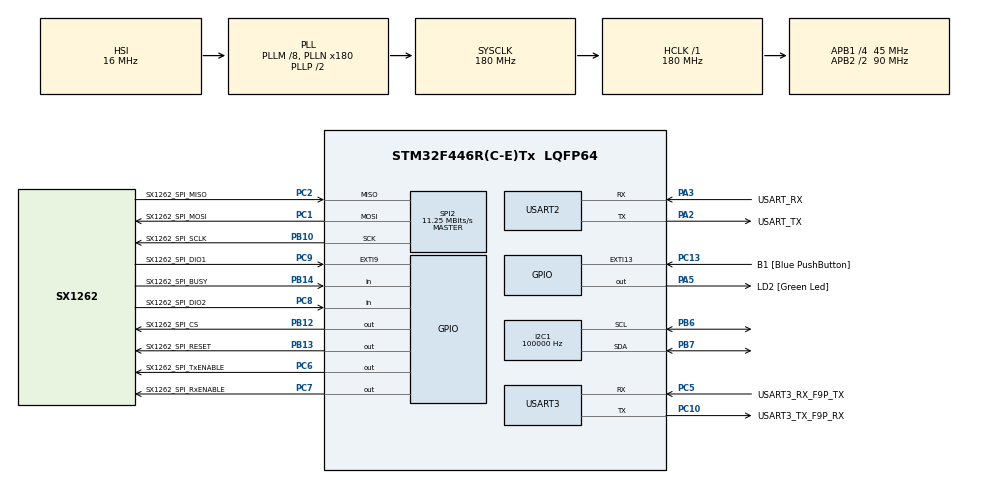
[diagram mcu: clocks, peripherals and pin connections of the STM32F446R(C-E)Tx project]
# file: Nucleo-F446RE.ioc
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FREERTOS.Tasks01=defaultTask,24,128,StartDefaultTask,Default,NULL,Dynamic,NULL,NULL
FREERTOS.configUSE_NEWLIB_REENTRANT=1
I2C1.ClockSpeed=100000
I2C1.I2C_Mode=I2C_Fast
I2C1.NoStretchMode=I2C_NOSTRETCH_DISABLE
Mcu.Family=STM32F4
Mcu.Name=STM32F446R(C-E)Tx
Mcu.Package=LQFP64
NVIC.EXTI9_5_IRQn=true\:5\:0\:false\:false\:true\:true\:true\:true\:true
NVIC.PriorityGroup=NVIC_PRIORITYGROUP_4
NVIC.TIM6_DAC_IRQn=true\:15\:0\:false\:false\:true\:false\:false\:true\:true
NVIC.TimeBase=TIM6_DAC_IRQn
NVIC.TimeBaseIP=TIM6
NVIC.USART3_IRQn=true\:5\:0\:false\:false\:true\:true\:true\:true\:true
PA13.GPIO_Label=TMS
PA13.Mode=Serial_Wire
PA13.Signal=SYS_JTMS-SWDIO
PA14.GPIO_Label=TCK
PA14.Mode=Serial_Wire
PA14.Signal=SYS_JTCK-SWCLK
PA2.GPIO_Label=USART_TX
PA2.Mode=Asynchronous
PA2.Signal=USART2_TX
PA3.GPIO_Label=USART_RX
PA3.Mode=Asynchronous
PA3.Signal=USART2_RX
PA5.GPIO_Label=LD2 [Green Led]
PA5.Signal=GPIO_Output
PB10.GPIO_Label=SX1262_SPI_SCLK
PB10.Mode=Full_Duplex_Master
PB10.Signal=SPI2_SCK
PB12.GPIO_Label=SX1262_SPI_CS
PB12.GPIO_Speed=GPIO_SPEED_FREQ_VERY_HIGH
PB12.PinState=GPIO_PIN_SET
PB12.Signal=GPIO_Output
PB13.GPIO_Label=SX1262_SPI_RESET
PB13.Signal=GPIO_Output
PB14.GPIO_Label=SX1262_SPI_BUSY
PB14.Signal=GPIO_Input
PB3.GPIO_Label=SWO
PB3.Signal=SYS_JTDO-SWO
PB6.GPIO_Pu=GPIO_PULLUP
PB6.Mode=I2C
PB6.Signal=I2C1_SCL
PB7.GPIO_Pu=GPIO_PULLUP
PB7.Mode=I2C
PB7.Signal=I2C1_SDA
PC1.GPIO_Label=SX1262_SPI_MOSI
PC1.Mode=Full_Duplex_Master
PC1.Signal=SPI2_MOSI
PC10.GPIO_Label=USART3_TX_F9P_RX
PC10.Mode=Asynchronous
PC10.Signal=USART3_TX
PC13.GPIO_Label=B1 [Blue PushButton]
PC13.GPIO_ModeDefaultEXTI=GPIO_MODE_IT_FALLING
PC13.Signal=GPXTI13
PC14-OSC32_IN.Mode=LSE-External-Oscillator
PC14-OSC32_IN.Signal=RCC_OSC32_IN
PC15-OSC32_OUT.Mode=LSE-External-Oscillator
PC15-OSC32_OUT.Signal=RCC_OSC32_OUT
PC2.GPIO_Label=SX1262_SPI_MISO
PC2.Mode=Full_Duplex_Master
PC2.Signal=SPI2_MISO
PC5.GPIO_Label=USART3_RX_F9P_TX
PC5.Mode=Asynchronous
PC5.Signal=USART3_RX
PC6.GPIO_Label=SX1262_SPI_TxENABLE
PC6.GPIO_Speed=GPIO_SPEED_FREQ_MEDIUM
PC6.Signal=GPIO_Output
PC7.GPIO_Label=SX1262_SPI_RxENABLE
PC7.Signal=GPIO_Output
PC8.GPIO_Label=SX1262_SPI_DIO2
PC8.Signal=GPIO_Input
PC9.GPIO_Label=SX1262_SPI_DIO1
PC9.GPIO_ModeDefaultEXTI=GPIO_MODE_IT_RISING
PC9.Signal=GPXTI9
PH0-OSC_IN.Mode=HSE-External-Oscillator
PH0-OSC_IN.Signal=RCC_OSC_IN
PH1-OSC_OUT.Mode=HSE-External-Oscillator
PH1-OSC_OUT.Signal=RCC_OSC_OUT
ProjectManager.HeapSize=0x200
ProjectManager.StackSize=0x400
ProjectManager.TargetToolchain=STM32CubeIDE
RCC.48MHZClocksFreq_Value=84000000
RCC.AHBFreq_Value=180000000
RCC.APB1CLKDivider=RCC_HCLK_DIV4
RCC.APB1Freq_Value=45000000
RCC.APB1TimFreq_Value=90000000
RCC.APB2CLKDivider=RCC_HCLK_DIV2
RCC.APB2Freq_Value=90000000
RCC.APB2TimFreq_Value=180000000
RCC.CortexFreq_Value=180000000
RCC.FLatency-AdvancedSettings=FLASH_LATENCY_5
RCC.HCLKFreq_Value=180000000
RCC.HSE_VALUE=24000000
RCC.HSI_VALUE=16000000
RCC.PLLM=8
RCC.PLLN=180
RCC.SYSCLKFreq_VALUE=180000000
RCC.SYSCLKSource=RCC_SYSCLKSOURCE_PLLCLK
RCC.USBFreq_Value=180000000
RCC.VCOOutputFreq_Value=360000000
SPI2.BaudRatePrescaler=SPI_BAUDRATEPRESCALER_4
SPI2.CalculateBaudRate=11.25 MBits/s
SPI2.Direction=SPI_DIRECTION_2LINES
SPI2.Mode=SPI_MODE_MASTER
SPI2.VirtualType=VM_MASTER
USART2.VirtualMode=VM_ASYNC
USART3.VirtualMode=VM_ASYNC
VP_FREERTOS_VS_CMSIS_V2.Mode=CMSIS_V2
VP_SYS_VS_tim6.Mode=TIM6
board=NUCLEO-F446RE

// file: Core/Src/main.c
/* USER CODE BEGIN Header */
/**
  ******************************************************************************
  * @file           : main.c
  * @brief          : Main program body
  ******************************************************************************
  * @attention
  *
  * Copyright (c) 2026 STMicroelectronics.
  * All rights reserved.
  *
  * This software is licensed under terms that can be found in the LICENSE file
  * in the root directory of this software component.
  * If no LICENSE file comes with this software, it is provided AS-IS.
  *
  ******************************************************************************
  */
/* USER CODE END Header */
#include "main.h"
#include "cmsis_os.h"

/* USER CODE BEGIN Includes */

#include "FreeRTOS.h"
#include "semphr.h"
#include "task_logger.h"
#include "task_display.h"
#include "task_ota_rx.h"

/* USER CODE END Includes */

I2C_HandleTypeDef hi2c1;

SPI_HandleTypeDef hspi2;

UART_HandleTypeDef huart2;
UART_HandleTypeDef huart3;

/* Definitions for defaultTask */
osThreadId_t defaultTaskHandle;
const osThreadAttr_t defaultTask_attributes = {
  .name = "defaultTask",
  .stack_size = 256 * 4,
  .priority = (osPriority_t) osPriorityNormal,
};
/* USER CODE BEGIN PV */
SemaphoreHandle_t hi2c1_mutex;
/* USER CODE END PV */

void SystemClock_Config(void);
static void MX_GPIO_Init(void);
static void MX_I2C1_Init(void);
static void MX_USART2_UART_Init(void);
static void MX_SPI2_Init(void);
static void MX_USART3_UART_Init(void);
void StartDefaultTask(void *argument);

int main(void)
{

  /* USER CODE BEGIN 1 */
  CoreDebug->DEMCR |= CoreDebug_DEMCR_TRCENA_Msk;
  DWT->CYCCNT = 0;
  DWT->CTRL  |= DWT_CTRL_CYCCNTENA_Msk;
  /* USER CODE END 1 */

  /* MCU Configuration--------------------------------------------------------*/

  /* Reset of all peripherals, Initializes the Flash interface and the Systick. */
  HAL_Init();

  /* Configure the system clock */
  SystemClock_Config();

  /* Initialize all configured peripherals */
  MX_GPIO_Init();
  MX_I2C1_Init();
  MX_USART2_UART_Init();
  MX_SPI2_Init();
  MX_USART3_UART_Init();

  /* Init scheduler */
  osKernelInitialize();

  /* USER CODE BEGIN RTOS_MUTEX */
  hi2c1_mutex = xSemaphoreCreateMutex();
  configASSERT(hi2c1_mutex);
  /* USER CODE END RTOS_MUTEX */

  /* Create the thread(s) */
  /* creation of defaultTask */
  defaultTaskHandle = osThreadNew(StartDefaultTask, NULL, &defaultTask_attributes);

  /* Start scheduler */
  osKernelStart();

  /* We should never get here as control is now taken by the scheduler */

  /* Infinite loop */
  while (1)
  {

  }
}

void SystemClock_Config(void)
{
  RCC_OscInitTypeDef RCC_OscInitStruct = {0};
  RCC_ClkInitTypeDef RCC_ClkInitStruct = {0};

  /** Configure the main internal regulator output voltage
  */
  __HAL_RCC_PWR_CLK_ENABLE();
  __HAL_PWR_VOLTAGESCALING_CONFIG(PWR_REGULATOR_VOLTAGE_SCALE1);

  /** Initializes the RCC Oscillators according to the specified parameters
  * in the RCC_OscInitTypeDef structure.
  */
  RCC_OscInitStruct.OscillatorType = RCC_OSCILLATORTYPE_HSI;
  RCC_OscInitStruct.HSIState = RCC_HSI_ON;
  RCC_OscInitStruct.HSICalibrationValue = RCC_HSICALIBRATION_DEFAULT;
  RCC_OscInitStruct.PLL.PLLState = RCC_PLL_ON;
  RCC_OscInitStruct.PLL.PLLSource = RCC_PLLSOURCE_HSI;
  RCC_OscInitStruct.PLL.PLLM = 8;
  RCC_OscInitStruct.PLL.PLLN = 180;
  RCC_OscInitStruct.PLL.PLLP = RCC_PLLP_DIV2;
  RCC_OscInitStruct.PLL.PLLQ = 2;
  RCC_OscInitStruct.PLL.PLLR = 2;
  if (HAL_RCC_OscConfig(&RCC_OscInitStruct) != HAL_OK)
  {
    Error_Handler();
  }

  /** Activate the Over-Drive mode
  */
  if (HAL_PWREx_EnableOverDrive() != HAL_OK)
  {
    Error_Handler();
  }

  /** Initializes the CPU, AHB and APB buses clocks
  */
  RCC_ClkInitStruct.ClockType = RCC_CLOCKTYPE_HCLK|RCC_CLOCKTYPE_SYSCLK
                              |RCC_CLOCKTYPE_PCLK1|RCC_CLOCKTYPE_PCLK2;
  RCC_ClkInitStruct.SYSCLKSource = RCC_SYSCLKSOURCE_PLLCLK;
  RCC_ClkInitStruct.AHBCLKDivider = RCC_SYSCLK_DIV1;
  RCC_ClkInitStruct.APB1CLKDivider = RCC_HCLK_DIV4;
  RCC_ClkInitStruct.APB2CLKDivider = RCC_HCLK_DIV2;

  if (HAL_RCC_ClockConfig(&RCC_ClkInitStruct, FLASH_LATENCY_5) != HAL_OK)
  {
    Error_Handler();
  }
}

static void MX_I2C1_Init(void)
{

  hi2c1.Instance = I2C1;
  hi2c1.Init.ClockSpeed = 100000;
  hi2c1.Init.DutyCycle = I2C_DUTYCYCLE_2;
  hi2c1.Init.OwnAddress1 = 0;
  hi2c1.Init.AddressingMode = I2C_ADDRESSINGMODE_7BIT;
  hi2c1.Init.DualAddressMode = I2C_DUALADDRESS_DISABLE;
  hi2c1.Init.OwnAddress2 = 0;
  hi2c1.Init.GeneralCallMode = I2C_GENERALCALL_DISABLE;
  hi2c1.Init.NoStretchMode = I2C_NOSTRETCH_DISABLE;
  if (HAL_I2C_Init(&hi2c1) != HAL_OK)
  {
    Error_Handler();
  }

}

static void MX_SPI2_Init(void)
{

  /* SPI2 parameter configuration*/
  hspi2.Instance = SPI2;
  hspi2.Init.Mode = SPI_MODE_MASTER;
  hspi2.Init.Direction = SPI_DIRECTION_2LINES;
  hspi2.Init.DataSize = SPI_DATASIZE_8BIT;
  hspi2.Init.CLKPolarity = SPI_POLARITY_LOW;
  hspi2.Init.CLKPhase = SPI_PHASE_1EDGE;
  hspi2.Init.NSS = SPI_NSS_SOFT;
  hspi2.Init.BaudRatePrescaler = SPI_BAUDRATEPRESCALER_4;
  hspi2.Init.FirstBit = SPI_FIRSTBIT_MSB;
  hspi2.Init.TIMode = SPI_TIMODE_DISABLE;
  hspi2.Init.CRCCalculation = SPI_CRCCALCULATION_DISABLE;
  hspi2.Init.CRCPolynomial = 10;
  if (HAL_SPI_Init(&hspi2) != HAL_OK)
  {
    Error_Handler();
  }

}

static void MX_USART2_UART_Init(void)
{

  huart2.Instance = USART2;
  huart2.Init.BaudRate = 115200;
  huart2.Init.WordLength = UART_WORDLENGTH_8B;
  huart2.Init.StopBits = UART_STOPBITS_1;
  huart2.Init.Parity = UART_PARITY_NONE;
  huart2.Init.Mode = UART_MODE_TX_RX;
  huart2.Init.HwFlowCtl = UART_HWCONTROL_NONE;
  huart2.Init.OverSampling = UART_OVERSAMPLING_16;
  if (HAL_UART_Init(&huart2) != HAL_OK)
  {
    Error_Handler();
  }

}

static void MX_USART3_UART_Init(void)
{

  huart3.Instance = USART3;
  huart3.Init.BaudRate = 115200;
  huart3.Init.WordLength = UART_WORDLENGTH_8B;
  huart3.Init.StopBits = UART_STOPBITS_1;
  huart3.Init.Parity = UART_PARITY_NONE;
  huart3.Init.Mode = UART_MODE_TX_RX;
  huart3.Init.HwFlowCtl = UART_HWCONTROL_NONE;
  huart3.Init.OverSampling = UART_OVERSAMPLING_16;
  if (HAL_UART_Init(&huart3) != HAL_OK)
  {
    Error_Handler();
  }

}

static void MX_GPIO_Init(void)
{
  GPIO_InitTypeDef GPIO_InitStruct = {0};

  /* GPIO Ports Clock Enable */
  __HAL_RCC_GPIOC_CLK_ENABLE();
  __HAL_RCC_GPIOH_CLK_ENABLE();
  __HAL_RCC_GPIOA_CLK_ENABLE();
  __HAL_RCC_GPIOB_CLK_ENABLE();

  /*Configure GPIO pin Output Level */
  HAL_GPIO_WritePin(LD2_GPIO_Port, LD2_Pin, GPIO_PIN_RESET);

  /*Configure GPIO pin Output Level */
  HAL_GPIO_WritePin(SX1262_SPI_CS_GPIO_Port, SX1262_SPI_CS_Pin, GPIO_PIN_SET);

  /*Configure GPIO pin Output Level */
  HAL_GPIO_WritePin(SX1262_SPI_RESET_GPIO_Port, SX1262_SPI_RESET_Pin, GPIO_PIN_RESET);

  /*Configure GPIO pin Output Level */
  HAL_GPIO_WritePin(GPIOC, SX1262_SPI_TxENABLE_Pin|SX1262_SPI_RxENABLE_Pin, GPIO_PIN_RESET);

  /*Configure GPIO pin : B1_Pin */
  GPIO_InitStruct.Pin = B1_Pin;
  GPIO_InitStruct.Mode = GPIO_MODE_IT_FALLING;
  GPIO_InitStruct.Pull = GPIO_NOPULL;
  HAL_GPIO_Init(B1_GPIO_Port, &GPIO_InitStruct);

  /*Configure GPIO pin : LD2_Pin */
  GPIO_InitStruct.Pin = LD2_Pin;
  GPIO_InitStruct.Mode = GPIO_MODE_OUTPUT_PP;
  GPIO_InitStruct.Pull = GPIO_NOPULL;
  GPIO_InitStruct.Speed = GPIO_SPEED_FREQ_LOW;
  HAL_GPIO_Init(LD2_GPIO_Port, &GPIO_InitStruct);

  /*Configure GPIO pin : SX1262_SPI_CS_Pin */
  GPIO_InitStruct.Pin = SX1262_SPI_CS_Pin;
  GPIO_InitStruct.Mode = GPIO_MODE_OUTPUT_PP;
  GPIO_InitStruct.Pull = GPIO_NOPULL;
  GPIO_InitStruct.Speed = GPIO_SPEED_FREQ_VERY_HIGH;
  HAL_GPIO_Init(SX1262_SPI_CS_GPIO_Port, &GPIO_InitStruct);

  /*Configure GPIO pin : SX1262_SPI_RESET_Pin */
  GPIO_InitStruct.Pin = SX1262_SPI_RESET_Pin;
  GPIO_InitStruct.Mode = GPIO_MODE_OUTPUT_PP;
  GPIO_InitStruct.Pull = GPIO_NOPULL;
  GPIO_InitStruct.Speed = GPIO_SPEED_FREQ_LOW;
  HAL_GPIO_Init(SX1262_SPI_RESET_GPIO_Port, &GPIO_InitStruct);

  /*Configure GPIO pin : SX1262_SPI_BUSY_Pin */
  GPIO_InitStruct.Pin = SX1262_SPI_BUSY_Pin;
  GPIO_InitStruct.Mode = GPIO_MODE_INPUT;
  GPIO_InitStruct.Pull = GPIO_NOPULL;
  HAL_GPIO_Init(SX1262_SPI_BUSY_GPIO_Port, &GPIO_InitStruct);

  /*Configure GPIO pin : SX1262_SPI_TxENABLE_Pin */
  GPIO_InitStruct.Pin = SX1262_SPI_TxENABLE_Pin;
  GPIO_InitStruct.Mode = GPIO_MODE_OUTPUT_PP;
  GPIO_InitStruct.Pull = GPIO_NOPULL;
  GPIO_InitStruct.Speed = GPIO_SPEED_FREQ_MEDIUM;
  HAL_GPIO_Init(SX1262_SPI_TxENABLE_GPIO_Port, &GPIO_InitStruct);

  /*Configure GPIO pin : SX1262_SPI_RxENABLE_Pin */
  GPIO_InitStruct.Pin = SX1262_SPI_RxENABLE_Pin;
  GPIO_InitStruct.Mode = GPIO_MODE_OUTPUT_PP;
  GPIO_InitStruct.Pull = GPIO_NOPULL;
  GPIO_InitStruct.Speed = GPIO_SPEED_FREQ_LOW;
  HAL_GPIO_Init(SX1262_SPI_RxENABLE_GPIO_Port, &GPIO_InitStruct);

  /*Configure GPIO pin : SX1262_SPI_DIO2_Pin */
  GPIO_InitStruct.Pin = SX1262_SPI_DIO2_Pin;
  GPIO_InitStruct.Mode = GPIO_MODE_INPUT;
  GPIO_InitStruct.Pull = GPIO_NOPULL;
  HAL_GPIO_Init(SX1262_SPI_DIO2_GPIO_Port, &GPIO_InitStruct);

  /*Configure GPIO pin : SX1262_SPI_DIO1_Pin */
  GPIO_InitStruct.Pin = SX1262_SPI_DIO1_Pin;
  GPIO_InitStruct.Mode = GPIO_MODE_IT_RISING;
  GPIO_InitStruct.Pull = GPIO_NOPULL;
  HAL_GPIO_Init(SX1262_SPI_DIO1_GPIO_Port, &GPIO_InitStruct);

  /* EXTI interrupt init*/
  HAL_NVIC_SetPriority(EXTI9_5_IRQn, 5, 0);
  HAL_NVIC_EnableIRQ(EXTI9_5_IRQn);

}

void StartDefaultTask(void *argument)
{
  /* USER CODE BEGIN 5 */
  logger_init();
  display_init();
  task_ota_rx_init();

  vTaskDelay(pdMS_TO_TICKS(600));

  logger_log("\r\n\r\nF446RE Rover FreeRTOS starting\r\n");
  logger_log("heap free: %u  min-ever: %u  of %u\r\n",
             (unsigned)xPortGetFreeHeapSize(),
             (unsigned)xPortGetMinimumEverFreeHeapSize(),
             (unsigned)configTOTAL_HEAP_SIZE);

  for (;;) {
    HAL_GPIO_TogglePin(LD2_GPIO_Port, LD2_Pin);
    vTaskDelay(pdMS_TO_TICKS(500));
  }
  /* USER CODE END 5 */
}

void HAL_TIM_PeriodElapsedCallback(TIM_HandleTypeDef *htim)
{
  if (htim->Instance == TIM6)
  {
    HAL_IncTick();
  }
}

void Error_Handler(void)
{
  __disable_irq();
  while (1)
  {
  }
}
